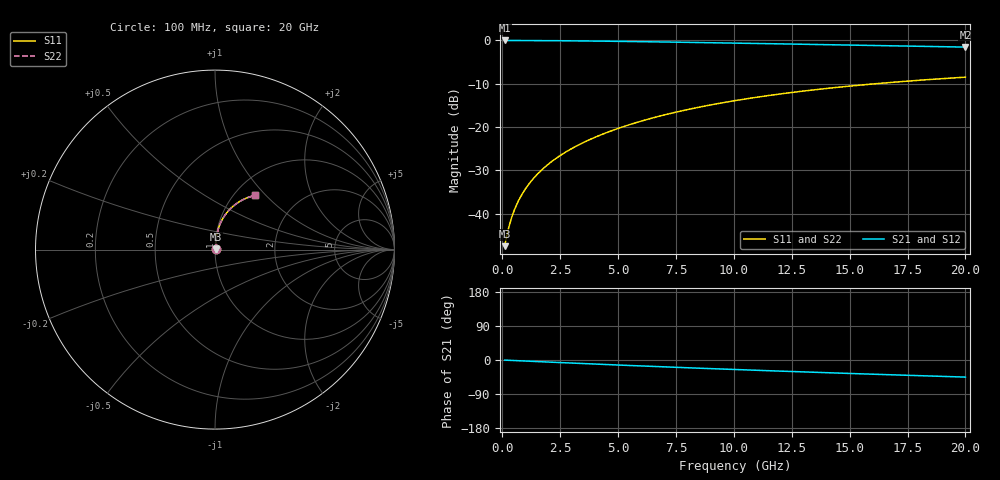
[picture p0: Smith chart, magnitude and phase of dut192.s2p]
! Touchstone file exported from HFSS 2024.1.0
!  File:  C:/UserFiles/LocalFiles/RDL_TSV_Batchsim/temp_RDL_top_192_1778686686.aedt
!  Generated:  11:40:21 PM May 13, 2026
!  Design:  RDL_top
!  Project:  temp_RDL_top_192_1778686686
!  Setup:  Setup1
!  Solution:  Sweep
! Variables:
!  dtsv = 10.80580581um
!  hbump = 3um
!  htsv = 70.01um
!  ldown = 100um
!  lrdl = 661.67um
!  p = 40
!  p1 = 46.64um
!  rhole = 1um
!  t = 450um
!  tdown = 3.915915916um
!  trdl = 3.1um
!  wdown = 15.38538539um
!  wrdl = 22.04um
# GHz S MA R 50.000000
! Terminal data exported
! Port[1] = Box2_T1
! Port[2] = Box2_T2
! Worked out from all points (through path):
!   200 points, 100 MHz to 20 GHz, reference 50 ohm
!   highest |S21| = -0.03 dB at 100 MHz (marker M1); lowest = -1.6 dB at 20 GHz (marker M2)
!   group delay of S21, straight-line fit = 6.22 ps
!   lowest |S11| = -47.5 dB at 100 MHz (marker M3), VSWR 1.01, Z = 50.4 + j0.211 ohm
!   |S11| at or under -10 dB: start of sweep to 16.17 GHz
!   |S22| runs from -47.5 to -8.5 dB; largest |S21 - S12| = 3.4e-15
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0.1  0.004201 29.9  0.9963 -0.3  0.9963 -0.3  0.004201 29.9
! Gamma 0 0 0 0
! Port Impedance 50 0 50 0
0.2  0.005604 47.2  0.9962 -0.6  0.9962 -0.6  0.005604 47.2
0.3  0.007246 56.5  0.9959 -0.9  0.9959 -0.9  0.007246 56.5
0.4  0.008938 62.1  0.9957 -1.1  0.9957 -1.1  0.008938 62.1
0.5  0.01064 65.9  0.9954 -1.4  0.9954 -1.4  0.01064 65.9
0.6  0.01234 68.7  0.9952 -1.7  0.9952 -1.7  0.01234 68.7
0.8  0.01579 72.8  0.9948 -2.2  0.9948 -2.2  0.01579 72.8
1  0.01928 75.5  0.9943 -2.8  0.9943 -2.8  0.01928 75.5
1.2  0.02283 77.4  0.9938 -3.3  0.9938 -3.3  0.02283 77.4
1.7  0.03186 80.3  0.9923 -4.6  0.9923 -4.6  0.03186 80.3
2.2  0.04111 81.8  0.9904 -6.0  0.9904 -6.0  0.0411 81.8
2.8  0.05245 82.7  0.9876 -7.6  0.9876 -7.6  0.05244 82.7
3.5  0.066 83.0  0.9837 -9.4  0.9837 -9.4  0.06599 83.0
4.2  0.07988 82.8  0.9791 -11.2  0.9791 -11.2  0.07987 82.8
5  0.09609 82.2  0.9733 -13.3  0.9733 -13.3  0.09607 82.2
6.8  0.1335 79.8  0.9584 -17.7  0.9584 -17.7  0.1334 79.8
8.4  0.1671 77.0  0.944 -21.4  0.944 -21.4  0.167 76.9
10.1  0.2023 73.6  0.9281 -25.2  0.9281 -25.2  0.2022 73.6
11.7  0.2344 70.3  0.9129 -28.7  0.9129 -28.7  0.2343 70.3
13.4  0.267 66.8  0.8967 -32.3  0.8967 -32.3  0.2669 66.7
16.7  0.3251 60.0  0.8655 -38.9  0.8655 -38.9  0.3249 60.0
20  0.3755 53.6  0.8352 -45.1  0.8352 -45.1  0.3752 53.6
